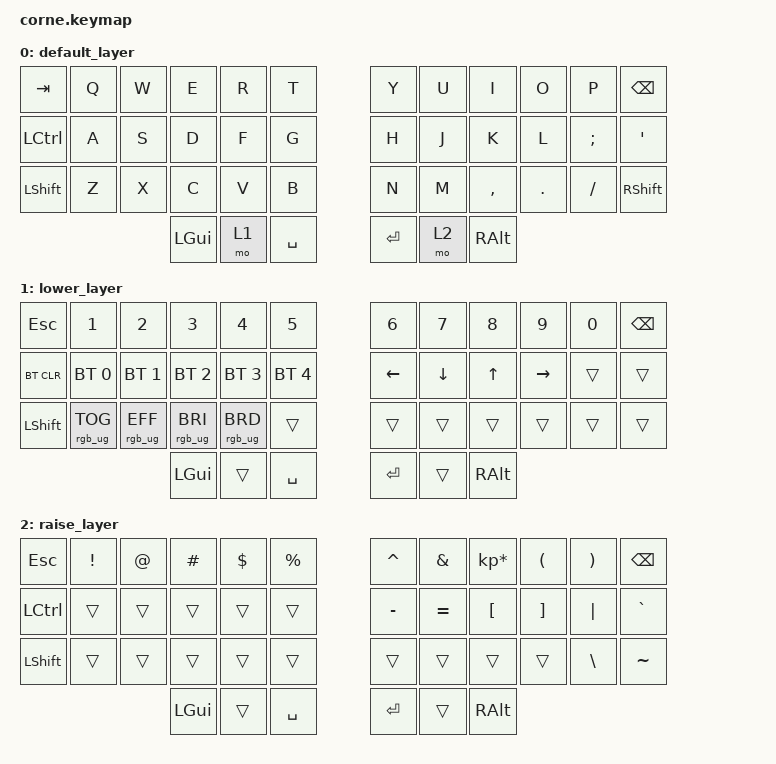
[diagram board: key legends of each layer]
/*
 * Copyright (c) 2020 The ZMK Contributors
 *
 * SPDX-License-Identifier: MIT
 */

#include <behaviors.dtsi>
#include <dt-bindings/zmk/keys.h>
#include <dt-bindings/zmk/bt.h>
#include <dt-bindings/zmk/rgb.h>
#include <dt-bindings/zmk/outputs.h>
#include <dt-bindings/led/led.h>

/*
 * Temporarily here because nice nano v2 spi is not defined on ZMk Yet
 * Source: https://github.com/zmkfirmware/zmk/blob/main/app/boards/shields/reviung41/boards/nice_nano.overlay
 * GitHub Issue: https://github.com/zmkfirmware/zmk/issues/885
 */

&spi1 {
   compatible = "nordic,nrf-spim";
   status = "okay";
   mosi-pin = <6>;
   // Unused pins, needed for SPI definition, but not used by the ws2812 driver itself.
   sck-pin = <5>;
   miso-pin = <7>;

   led_strip: ws2812@0 {
      compatible = "worldsemi,ws2812-spi";
      label = "WS2812";

      /* SPI */
      reg = <0>; /* ignored, but necessary for SPI bindings */
      spi-max-frequency = <4000000>;

		/* WS2812 */
		chain-length = <6>; /* There are per-key RGB, but the first 6 are underglow */
		spi-one-frame = <0x70>;
		spi-zero-frame = <0x40>;

		color-mapping = <LED_COLOR_ID_GREEN LED_COLOR_ID_RED LED_COLOR_ID_BLUE>;

   };
};

/ {
   chosen {
      zmk,underglow = &led_strip;
   };
};


/*
 * Above Temporarily here because nice nano v2 spi is not defined on ZMk Yet
 * Source: https://github.com/zmkfirmware/zmk/blob/main/app/boards/shields/reviung41/boards/nice_nano.overlay
 * GitHub Issue: https://github.com/zmkfirmware/zmk/issues/885
 */

/ {
        keymap {
                compatible = "zmk,keymap";

                default_layer {
// -----------------------------------------------------------------------------------------
// |  TAB |  Q  |  W  |  E  |  R  |  T  |   |  Y  |  U   |  I  |  O  |  P  | BKSP |
// | CTRL |  A  |  S  |  D  |  F  |  G  |   |  H  |  J   |  K  |  L  |  ;  |  '   |
// | SHFT |  Z  |  X  |  C  |  V  |  B  |   |  N  |  M   |  ,  |  .  |  /  | SHFT |
//                    | GUI | LWR | SPC |   | ENT | RSE  | ALT |
                        bindings = <
   &kp TAB   &kp Q &kp W &kp E &kp R &kp T   &kp Y &kp U  &kp I     &kp O   &kp P    &kp BSPC
   &kp LCTRL &kp A &kp S &kp D &kp F &kp G   &kp H &kp J  &kp K     &kp L   &kp SEMI &kp SQT
   &kp LSHFT &kp Z &kp X &kp C &kp V &kp B   &kp N &kp M  &kp COMMA &kp DOT &kp FSLH &kp RSHFT
                  &kp LGUI &mo 1 &kp SPACE   &kp RET &mo 2 &kp RALT
                        >;
                };
                lower_layer {
// -----------------------------------------------------------------------------------------
// |  ESC |  1  |  2  |  3  |  4  |  5  |   |  6  |  7  |  8  |  9  |  0  | BKSP |
// | BTCLR| BT1 | BT2 | BT3 | BT4 | BT5 |   | LFT | DWN |  UP | RGT |     |      |
// | SHFT |     |     |     |     |     |   |     |     |     |     |     |      |
//                    | GUI |     | SPC |   | ENT |     | ALT |
                        bindings = <
   &kp ESC    &kp N1          &kp N2          &kp N3          &kp N4          &kp N5            &kp N6   &kp N7   &kp N8 &kp N9    &kp N0 &kp BSPC
   &bt BT_CLR &bt BT_SEL 0    &bt BT_SEL 1    &bt BT_SEL 2    &bt BT_SEL 3    &bt BT_SEL 4      &kp LEFT &kp DOWN &kp UP &kp RIGHT &trans &trans
   &kp LSHFT  &rgb_ug RGB_TOG &rgb_ug RGB_EFF &rgb_ug RGB_BRI &rgb_ug RGB_BRD &trans            &trans   &trans   &trans &trans    &trans &trans
                                              &kp LGUI        &trans          &kp SPACE         &kp RET  &trans   &kp RALT
                        >;
                };

                raise_layer {
// -----------------------------------------------------------------------------------------
// |  ESC |  !  |  @  |  #  |  $  |  %  |   |  ^  |  &  |  *  |  (  |  )  | BKSP |
// | CTRL |     |     |     |     |     |   |  -  |  =  |  {  |  }  | "|" |  `   |
// | SHFT |     |     |     |     |     |   |  _  |  +  |  [  |  ]  |  \  |  ~   | // TODO: Fix this row when &mkp is committed
//                    | GUI |     | SPC |   | ENT |     | ALT |
                        bindings = <
   &kp  ESC  &kp EXCL  &kp AT  &kp HASH  &kp DLLR  &kp PRCNT   &kp CARET &kp AMPS  &kp KP_MULTIPLY &kp LPAR &kp RPAR &kp BSPC
   &kp LCTRL &trans    &trans  &trans    &trans    &trans      &kp MINUS &kp EQUAL &kp LBKT        &kp RBKT &kp PIPE &kp GRAVE
   &kp LSHFT &trans    &trans  &trans    &trans    &trans      &trans    &trans    &trans          &trans   &kp BSLH &kp TILDE
                                   &kp LGUI &trans &kp SPACE   &kp RET &trans &kp RALT
                        >;
                };
        };
};
